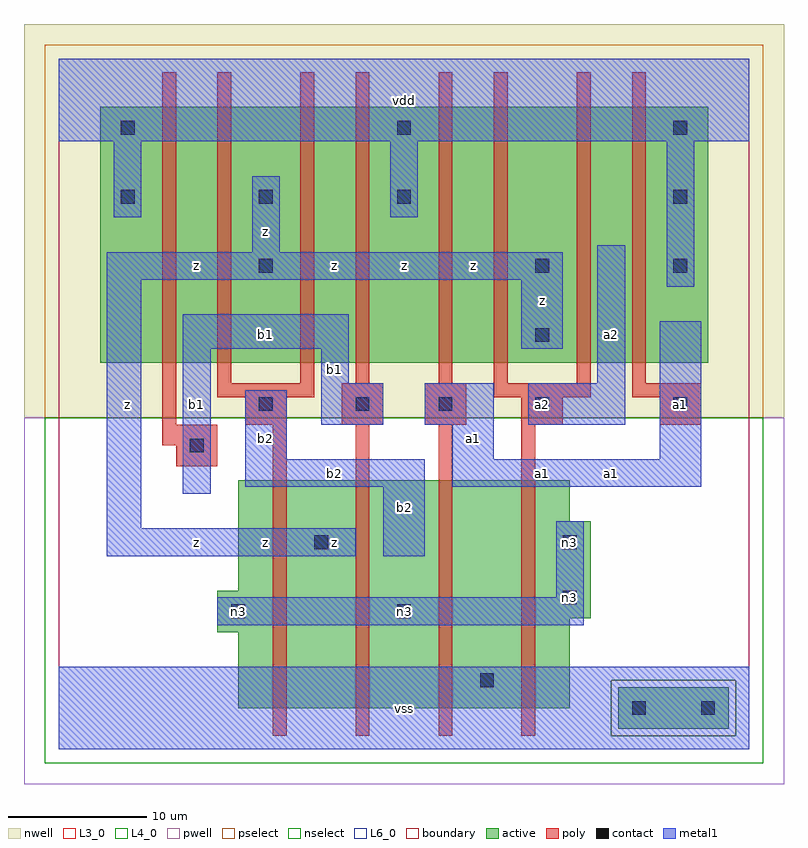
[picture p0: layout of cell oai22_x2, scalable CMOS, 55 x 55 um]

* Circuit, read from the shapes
.subckt oai22_x2 a1 a2 b1 b2 n3 vdd vss z
M1 z b2 n3 vss nfet w=16.5u l=1u
M2 n3 b1 z vss nfet w=16.5u l=1u
M3 vss a1 n3 vss nfet w=16.5u l=1u
M4 n3 a2 vss vss nfet w=16.5u l=1u
M5 n1 b1 vdd n2 pfet w=18.5u l=1u
M6 z b2 n1 n2 pfet w=18.5u l=1u
M7 n4 b2 z n2 pfet w=18.5u l=1u
M8 vdd b1 n4 n2 pfet w=18.5u l=1u
M9 n5 a1 vdd n2 pfet w=18.5u l=1u
M10 z a2 n5 n2 pfet w=18.5u l=1u
M11 n6 a2 z n2 pfet w=18.5u l=1u
M12 vdd a1 n6 n2 pfet w=18.5u l=1u
.ends

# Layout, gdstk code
import gdstk
lib = gdstk.Library(unit=1e-6, precision=1e-09)
def R(c, l, rs):  # rectangles x0, y0, x1, y1
    for r in rs: c.add(gdstk.rectangle(r[:2], r[2:], *l))
def A(c, l, x, y, w, h, nx, ny, dx, dy):  # array of equal rectangles
    R(c, l, [(x+i*dx, y+j*dy, x+i*dx+w, y+j*dy+h) for i in range(nx) for j in range(ny)])
L3_0 = (3, 0)
L4_0 = (4, 0)
L6_0 = (6, 0)
contact = (25, 0)
pwell = (41, 0)
nwell = (42, 0)
active = (43, 0)
pselect = (44, 0)
nselect = (45, 0)
poly = (46, 0)
metal1 = (49, 0)
boundary = (63, 0)

oai22_x2 = lib.new_cell('oai22_x2')
R(oai22_x2, L3_0, [(13,3,37,8.5), (11.5,8.5,37,9.5), (11.5,9.5,38.5,11.5), (13,11.5,38.5,16.5), (13,16.5,37,19.5)])
R(oai22_x2, L4_0, [(3,28,47,46.5)])
R(oai22_x2, L6_0, [(40.5,1.5,48.5,4.5)])
A(oai22_x2, contact, 34.5, 24.5, 1, 1, 1, 3, 0, 5)
A(oai22_x2, contact, 4.5, 39.5, 1, 1, 3, 1, 10, 0)
A(oai22_x2, contact, 4.5, 44.5, 1, 1, 3, 1, 20, 0)
R(oai22_x2, contact, [(41.5,2.5,42.5,3.5), (46.5,2.5,47.5,3.5), (30.5,4.5,31.5,5.5), (12.5,9.5,13.5,10.5), (24.5,9.5,25.5,10.5), (36.5,10.5,37.5,11.5), (18.5,14.5,19.5,15.5), (36.5,14.5,37.5,15.5), (9.5,21.5,10.5,22.5), (14.5,24.5,15.5,25.5), (21.5,24.5,22.5,25.5), (27.5,24.5,28.5,25.5), (44.5,24.5,45.5,25.5), (14.5,34.5,15.5,35.5), (44.5,34.5,45.5,35.5), (44.5,39.5,45.5,40.5)])
R(oai22_x2, pwell, [(-2.5,-2.5,52.5,24)])
R(oai22_x2, nwell, [(-2.5,24,52.5,52.5)])
R(oai22_x2, active, [(40.5,1.5,48.5,4.5), (13,3,37,8.5), (11.5,8.5,37,9.5), (11.5,9.5,38.5,11.5), (13,11.5,38.5,16.5), (13,16.5,37,19.5), (3,28,47,46.5)])
R(oai22_x2, pselect, [(40,1,49,5), (-1,24,51,51)])
R(oai22_x2, nselect, [(-1,-1,51,1), (-1,1,40,5), (49,1,51,5), (-1,5,51,24)])
A(oai22_x2, poly, 15.5, 1, 1, 22.5, 4, 1, 6, 0)
R(oai22_x2, poly, [(8.5,20.5,11.5,22), (7.5,22,11.5,23.5), (7.5,23.5,8.5,49), (13.5,23.5,16.5,25.5), (20.5,23.5,23.5,26.5), (26.5,23.5,29.5,26.5), (33.5,23.5,36.5,25.5), (43.5,23.5,46.5,25.5), (11.5,25.5,18.5,26.5), (31.5,25.5,38.5,26.5), (41.5,25.5,46.5,26.5), (11.5,26.5,12.5,49), (17.5,26.5,18.5,49), (21.5,26.5,22.5,49), (27.5,26.5,28.5,49), (31.5,26.5,32.5,49), (37.5,26.5,38.5,49), (41.5,26.5,42.5,49)])
R(oai22_x2, metal1, [(0,0,50,6), (0,0,50,6), (11.5,9,38,11), (11.5,9,38,11), (36,11,38,16.5), (36,11,38,16.5), (3.5,14,21.5,16), (3.5,14,21.5,16), (23.5,14,26.5,19), (23.5,14,26.5,19), (3.5,16,6,34), (3.5,16,6,34), (9,18.5,11,29), (9,18.5,11,29), (13.5,19,26.5,21), (13.5,19,26.5,21), (28.5,19,46.5,21), (28.5,19,46.5,21), (13.5,21,16.5,26), (13.5,21,16.5,26), (28.5,21,31.5,23.5), (28.5,21,31.5,23.5), (43.5,21,46.5,31), (43.5,21,46.5,31), (19,23.5,23.5,26.5), (19,23.5,23.5,26.5), (26.5,23.5,31.5,26.5), (26.5,23.5,31.5,26.5), (34,23.5,41,26.5), (34,23.5,41,26.5), (19,26.5,21,29), (19,26.5,21,29), (39,26.5,41,36.5), (39,26.5,41,36.5), (9,29,21,31.5), (9,29,21,31.5), (33.5,29,36.5,34), (33.5,29,36.5,34), (44,33.5,46,44), (44,33.5,46,44), (3.5,34,36.5,36), (3.5,34,36.5,36), (14,36,16,41.5), (14,36,16,41.5), (4,38.5,6,44), (4,38.5,6,44), (24,38.5,26,44), (24,38.5,26,44), (0,44,50,50), (0,44,50,50)])
R(oai22_x2, boundary, [(0,0,50,50)])
oai22_x2.add(gdstk.Label('n3', (13,10), layer=49, texttype=0))
oai22_x2.add(gdstk.Label('n3', (25,10), layer=49, texttype=0))
oai22_x2.add(gdstk.Label('n3', (37,11), layer=49, texttype=0))
oai22_x2.add(gdstk.Label('n3', (37,15), layer=49, texttype=0))
oai22_x2.add(gdstk.Label('z', (5,25), layer=49, texttype=0))
oai22_x2.add(gdstk.Label('z', (10,15), layer=49, texttype=0))
oai22_x2.add(gdstk.Label('z', (15,15), layer=49, texttype=0))
oai22_x2.add(gdstk.Label('b1', (10,25), layer=49, texttype=0))
oai22_x2.add(gdstk.Label('b2', (15,22.5), layer=49, texttype=0))
oai22_x2.add(gdstk.Label('b1', (15,30), layer=49, texttype=0))
oai22_x2.add(gdstk.Label('z', (10,35), layer=49, texttype=0))
oai22_x2.add(gdstk.Label('z', (15,37.5), layer=49, texttype=0))
oai22_x2.add(gdstk.Label('vss', (25,3), layer=49, texttype=0))
oai22_x2.add(gdstk.Label('z', (20,15), layer=49, texttype=0))
oai22_x2.add(gdstk.Label('b2', (25,17.5), layer=49, texttype=0))
oai22_x2.add(gdstk.Label('b2', (20,20), layer=49, texttype=0))
oai22_x2.add(gdstk.Label('b1', (20,27.5), layer=49, texttype=0))
oai22_x2.add(gdstk.Label('z', (20,35), layer=49, texttype=0))
oai22_x2.add(gdstk.Label('z', (25,35), layer=49, texttype=0))
oai22_x2.add(gdstk.Label('vdd', (25,47), layer=49, texttype=0))
oai22_x2.add(gdstk.Label('a1', (35,20), layer=49, texttype=0))
oai22_x2.add(gdstk.Label('a1', (30,22.5), layer=49, texttype=0))
oai22_x2.add(gdstk.Label('a2', (35,25), layer=49, texttype=0))
oai22_x2.add(gdstk.Label('z', (30,35), layer=49, texttype=0))
oai22_x2.add(gdstk.Label('z', (35,32.5), layer=49, texttype=0))
oai22_x2.add(gdstk.Label('a1', (40,20), layer=49, texttype=0))
oai22_x2.add(gdstk.Label('a1', (45,25), layer=49, texttype=0))
oai22_x2.add(gdstk.Label('a2', (40,30), layer=49, texttype=0))

lib.write_gds('oai22_x2.gds')
